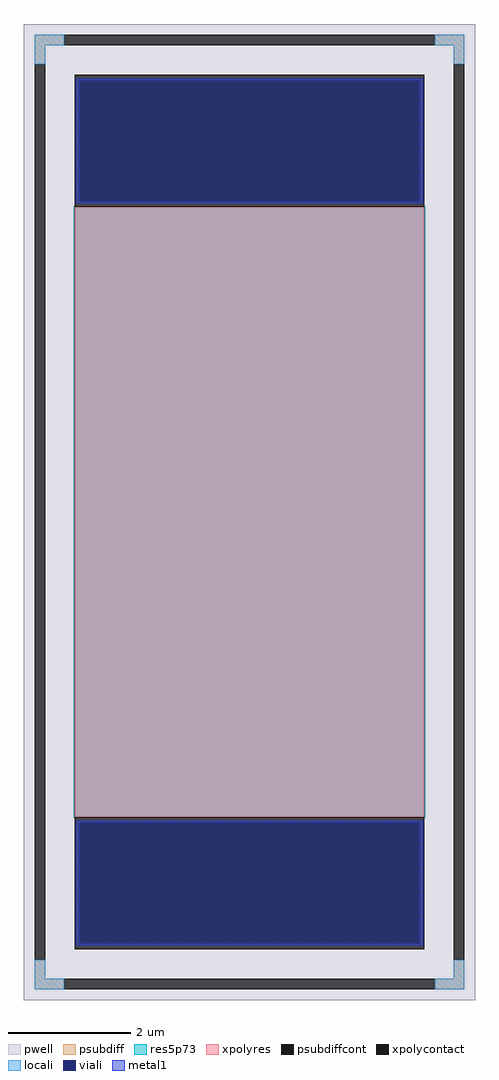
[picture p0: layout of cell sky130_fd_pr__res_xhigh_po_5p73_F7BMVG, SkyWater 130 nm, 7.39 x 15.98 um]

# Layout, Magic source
magic
tech sky130A
magscale 1 2
<< pwell >>
rect -739 -1598 739 1598
<< psubdiff >>
rect -703 1528 -607 1562
rect 607 1528 703 1562
rect -703 1466 -669 1528
rect 669 1466 703 1528
rect -703 -1528 -669 -1466
rect 669 -1528 703 -1466
rect -703 -1562 -607 -1528
rect 607 -1562 703 -1528
<< psubdiffcont >>
rect -607 1528 607 1562
rect -703 -1466 -669 1466
rect 669 -1466 703 1466
rect -607 -1562 607 -1528
<< xpolycontact >>
rect -573 1000 573 1432
rect -573 -1432 573 -1000
<< xpolyres >>
rect -573 -1000 573 1000
<< locali >>
rect -703 1528 -607 1562
rect 607 1528 703 1562
rect -703 1466 -669 1528
rect 669 1466 703 1528
rect -703 -1528 -669 -1466
rect 669 -1528 703 -1466
rect -703 -1562 -607 -1528
rect 607 -1562 703 -1528
<< viali >>
rect -557 1017 557 1414
rect -557 -1414 557 -1017
<< metal1 >>
rect -569 1414 569 1420
rect -569 1017 -557 1414
rect 557 1017 569 1414
rect -569 1011 569 1017
rect -569 -1017 569 -1011
rect -569 -1414 -557 -1017
rect 557 -1414 569 -1017
rect -569 -1420 569 -1414
<< res5p73 >>
rect -575 -1002 575 1002
<< properties >>
string FIXED_BBOX -686 -1545 686 1545
string gencell sky130_fd_pr__res_xhigh_po_5p73
string library sky130
string parameters w 5.730 l 10 m 1 nx 1 wmin 5.730 lmin 0.50 rho 2000 val 3.556k dummy 0 dw 0.0 term 188.2 sterm 0.0 caplen 0 wmax 5.730 guard 1 glc 1 grc 1 gtc 1 gbc 1 compatible {sky130_fd_pr__res_xhigh_po_0p35  sky130_fd_pr__res_xhigh_po_0p69 sky130_fd_pr__res_xhigh_po_1p41  sky130_fd_pr__res_xhigh_po_2p85 sky130_fd_pr__res_xhigh_po_5p73} snake 0 full_metal 1 n_guard 0 hv_guard 0 vias 1 viagb 0 viagt 0 viagl 0 viagr 0
<< end >>
